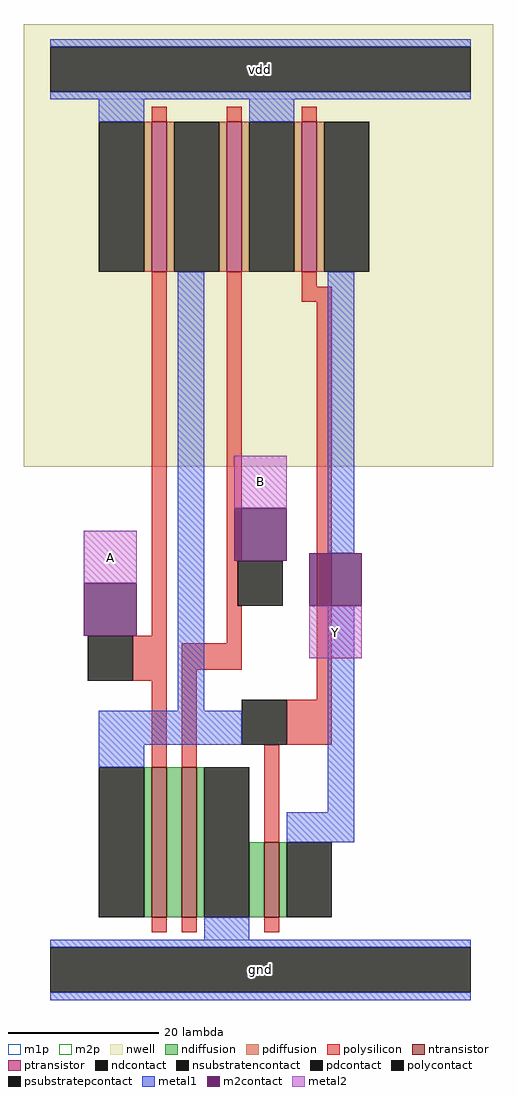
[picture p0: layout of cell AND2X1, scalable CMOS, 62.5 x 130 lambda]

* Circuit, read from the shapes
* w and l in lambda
.subckt AND2X1 A B Y vdd gnd
M1 n1 A n2 gnd nfet w=20 l=2
M2 gnd B n1 gnd nfet w=20 l=2
M3 Y n2 gnd gnd nfet w=10 l=2
M4 n2 A vdd vdd pfet w=20 l=2
M5 vdd B n2 vdd pfet w=20 l=2
M6 Y n2 vdd vdd pfet w=20 l=2
.ends

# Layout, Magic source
magic
tech scmos
magscale 1 2
<< nwell >>
rect -13 134 112 252
<< ntransistor >>
rect 21 14 25 54
rect 29 14 33 54
rect 51 14 55 34
<< ptransistor >>
rect 21 186 25 226
rect 41 186 45 226
rect 61 186 65 226
<< ndiffusion >>
rect 19 14 21 54
rect 25 14 29 54
rect 33 14 35 54
rect 47 14 51 34
rect 55 14 57 34
<< pdiffusion >>
rect 19 186 21 226
rect 25 186 27 226
rect 39 186 41 226
rect 45 186 47 226
rect 59 186 61 226
rect 65 186 67 226
<< ndcontact >>
rect 7 14 19 54
rect 35 14 47 54
rect 57 14 69 34
<< pdcontact >>
rect 7 186 19 226
rect 27 186 39 226
rect 47 186 59 226
rect 67 186 79 226
<< psubstratepcontact >>
rect -6 -6 106 6
<< nsubstratencontact >>
rect -6 234 106 246
<< polysilicon >>
rect 21 226 25 230
rect 41 226 45 230
rect 61 226 65 230
rect 21 89 25 186
rect 16 77 25 89
rect 41 109 45 186
rect 61 182 65 186
rect 61 178 69 182
rect 41 97 44 109
rect 41 87 45 97
rect 21 54 25 77
rect 29 80 45 87
rect 29 54 33 80
rect 65 72 69 178
rect 57 60 69 72
rect 51 34 55 60
rect 21 10 25 14
rect 29 10 33 14
rect 51 10 55 14
<< polycontact >>
rect 4 77 16 89
rect 44 97 56 109
rect 45 60 57 72
<< metal1 >>
rect -6 246 106 248
rect -6 232 106 234
rect 7 226 19 232
rect 47 226 59 232
rect 28 69 35 186
rect 68 111 75 186
rect 7 60 45 69
rect 7 54 19 60
rect 68 42 75 97
rect 57 34 75 42
rect 35 8 47 14
rect -6 6 106 8
rect -6 -8 106 -6
<< m2contact >>
rect 3 89 17 103
rect 43 109 57 123
rect 63 97 77 111
<< metal2 >>
rect 43 123 57 137
rect 3 103 17 117
rect 63 83 77 97
<< m1p >>
rect -6 232 106 248
rect -6 -8 106 8
<< m2p >>
rect 43 123 57 137
rect 3 103 17 117
rect 63 83 77 97
<< labels >>
rlabel metal1 -6 -8 106 8 0 gnd
port 4 nsew ground bidirectional abutment
rlabel metal1 -6 232 106 248 0 vdd
port 3 nsew power bidirectional abutment
rlabel metal2 3 103 17 117 0 A
port 0 nsew signal input
rlabel metal2 43 123 57 137 0 B
port 1 nsew signal input
rlabel metal2 63 83 77 97 0 Y
port 2 nsew signal output
<< properties >>
string FIXED_BBOX 0 0 100 240
string LEFclass CORE
string LEFsite core
string LEFsymmetry X Y
<< end >>
